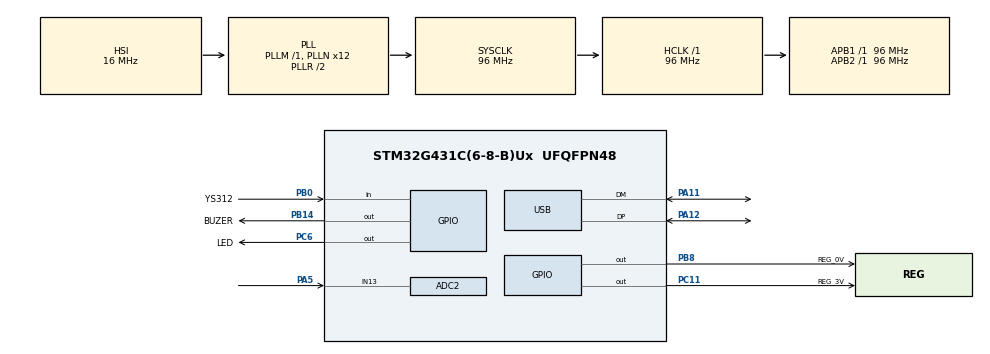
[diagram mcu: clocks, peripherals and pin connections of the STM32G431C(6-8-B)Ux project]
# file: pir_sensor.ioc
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ADC2.Channel-2\#ChannelRegularConversion=ADC_CHANNEL_13
ADC2.NbrOfConversion=1
ADC2.NbrOfConversionFlag=1
ADC2.OffsetNumber-2\#ChannelRegularConversion=ADC_OFFSET_NONE
ADC2.Rank-2\#ChannelRegularConversion=1
ADC2.SamplingTime-2\#ChannelRegularConversion=ADC_SAMPLETIME_47CYCLES_5
Mcu.Family=STM32G4
Mcu.Name=STM32G431C(6-8-B)Ux
Mcu.Package=UFQFPN48
NVIC.PriorityGroup=NVIC_PRIORITYGROUP_4
NVIC.USB_LP_IRQn=true\:0\:0\:false\:false\:true\:false\:true\:true
PA11.Mode=Device
PA11.Signal=USB_DM
PA12.Mode=Device
PA12.Signal=USB_DP
PA13.Mode=Serial_Wire
PA13.Signal=SYS_JTMS-SWDIO
PA14.Mode=Serial_Wire
PA14.Signal=SYS_JTCK-SWCLK
PA5.Mode=IN13-Single-Ended
PA5.Signal=ADC2_IN13
PB0.GPIO_Label=YS312
PB0.Signal=GPIO_Input
PB14.GPIO_Label=BUZER
PB14.GPIO_Speed=GPIO_SPEED_FREQ_HIGH
PB14.Signal=GPIO_Output
PB3.Signal=SYS_JTDO-SWO
PB8-BOOT0.GPIO_Label=REG_0V
PB8-BOOT0.Signal=GPIO_Output
PC11.GPIO_Label=REG_3V
PC11.PinState=GPIO_PIN_SET
PC11.Signal=GPIO_Output
PC6.GPIO_Label=LED
PC6.Signal=GPIO_Output
ProjectManager.HeapSize=0x800
ProjectManager.StackSize=0x400
ProjectManager.TargetToolchain=STM32CubeIDE
RCC.ADC12Freq_Value=96000000
RCC.AHBFreq_Value=96000000
RCC.APB1Freq_Value=96000000
RCC.APB1TimFreq_Value=96000000
RCC.APB2Freq_Value=96000000
RCC.APB2TimFreq_Value=96000000
RCC.CortexFreq_Value=96000000
RCC.EXTERNAL_CLOCK_VALUE=12288000
RCC.HCLKFreq_Value=96000000
RCC.HSE_VALUE=8000000
RCC.HSI48_VALUE=48000000
RCC.HSI_VALUE=16000000
RCC.LSE_VALUE=32768
RCC.PLLN=12
RCC.PLLQ=RCC_PLLQ_DIV4
RCC.SYSCLKFreq_VALUE=96000000
RCC.SYSCLKSource=RCC_SYSCLKSOURCE_PLLCLK
RCC.USBFreq_Value=48000000
RCC.VCOOutputFreq_Value=192000000
USB.battery_charging_enable=DISABLE
USB_DEVICE.CLASS_NAME_FS=CDC
USB_DEVICE.VirtualMode=Cdc
USB_DEVICE.VirtualModeFS=Cdc_FS
VP_RTC_VS_RTC_Activate.Mode=RTC_Enabled
VP_RTC_VS_RTC_Calendar.Mode=RTC_Calendar
VP_SYS_VS_DBSignals.Mode=DisableDeadBatterySignals
VP_USB_DEVICE_VS_USB_DEVICE_CDC_FS.Mode=CDC_FS
board=custom

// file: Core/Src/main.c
/* USER CODE BEGIN Header */
/**
  ******************************************************************************
  * @file           : main.c
  * @brief          : Main program body
  ******************************************************************************
  * @attention
  *
  * Copyright (c) 2026 STMicroelectronics.
  * All rights reserved.
  *
  * This software is licensed under terms that can be found in the LICENSE file
  * in the root directory of this software component.
  * If no LICENSE file comes with this software, it is provided AS-IS.
  *
  ******************************************************************************
  */
/* USER CODE END Header */
#include "main.h"
#include "adc.h"
#include "rtc.h"
#include "usb_device.h"
#include "gpio.h"

/* USER CODE BEGIN Includes */

#include "YS312.h"
#include "debug.h"
#include "dwt_delay.h"
#include "motion.h"
#include "led_beep.h"

/* USER CODE END Includes */

void SystemClock_Config(void);

/* USER CODE BEGIN 0 */
/*-----------------------------------------------------------------------------------*/
/** Get time difference between two events
 *
 * \param tickStart Event start time expressed in ticks
 * \param tickEnd	Event stop time expressed in ticks
 * \return 			Difference in ms between two events
 */
__attribute__((always_inline)) inline
uint32_t GetTickDiff(uint32_t tickStart, uint32_t tickEnd)
{
    return (tickEnd - tickStart);
}

/**
 * @brief  Read a single sample from ADC2 IN13 (PA5).
 * @return 12-bit raw value: 0 = 0V, 4095 = 3.3V
 */
uint16_t ADC2_Read(void)
{
    /* Calibrate ADC for better accuracy (optional, run once at startup) */
    // HAL_ADCEx_Calibration_Start(&hadc2, ADC_SINGLE_ENDED);

    /* Start single conversion */
    HAL_ADC_Start(&hadc2);

    /* Wait for conversion complete (timeout 10 ms) */
    if (HAL_ADC_PollForConversion(&hadc2, 10) != HAL_OK) {
        HAL_ADC_Stop(&hadc2);
        return 0;
    }

    /* Read raw value */
    uint16_t raw = HAL_ADC_GetValue(&hadc2);

    HAL_ADC_Stop(&hadc2);

    return raw;
}

/* USER CODE END 0 */

int main(void)
{

  /* USER CODE BEGIN 1 */

	uint16_t reg = 0;
	YS312_Result pir;
	MotionDetector md;
	bool motion = false;

  /* USER CODE END 1 */

  /* MCU Configuration--------------------------------------------------------*/

  /* Reset of all peripherals, Initializes the Flash interface and the Systick. */
  HAL_Init();

  /* Configure the system clock */
  SystemClock_Config();

  /* Initialize all configured peripherals */
  MX_GPIO_Init();
  MX_RTC_Init();
  MX_USB_Device_Init();
  MX_ADC2_Init();
  /* USER CODE BEGIN 2 */

  // DWT initialization
  DWT_Delay_Init();

  /* ADC calibration */
  HAL_ADCEx_Calibration_Start(&hadc2, ADC_SINGLE_ENDED);

  // Initialize motion detection
  MotionDetector_Init(&md, 500);

  DBG(DBG_DEBUG, "Starting...\n");
  LED_Set();
  Beep(200);
  LED_Clr();

  uint32_t start_time = HAL_GetTick();

  // delay for debug
  //HAL_Delay(5000u);
  /* USER CODE END 2 */

  /* Infinite loop */
  /* USER CODE BEGIN WHILE */

  while (1)
  {
	  /* Poll no faster than tR ≈ 16 ms so the sensor has time to
	       * update its internal data before the next read. */
	      HAL_Delay(200u);

	      // Get regulator value
		  reg = ADC2_Read();
		  MotionDetector_SetThreshold(&md, reg);

		  //DBG(DBG_DEBUG, "Regulator value: %u", reg);

		  pir = YS312_Read();
		  if (!pir.valid) {
			  DBG(DBG_DEBUG, "YS312 read failed\n\r");
			  continue;
		  }

		  motion = MotionDetector_Update(&md, pir.value);
		  if(GetTickDiff(start_time, HAL_GetTick()) > PIR_STARTUP_TIME) {
			  if(motion) {
				  Beep(50);
			  }
		  }

		  DBG(DBG_DEBUG, "PIR : %6d,  base %d: thr: %4d  motion: %s",
				  pir.value, (int16_t)(md.baseline_scaled / 100), md.threshold, motion ? "YES" : "NO");

    /* USER CODE END WHILE */

  }
}

void SystemClock_Config(void)
{
  RCC_OscInitTypeDef RCC_OscInitStruct = {0};
  RCC_ClkInitTypeDef RCC_ClkInitStruct = {0};

  /** Configure the main internal regulator output voltage
  */
  HAL_PWREx_ControlVoltageScaling(PWR_REGULATOR_VOLTAGE_SCALE1);

  /** Initializes the RCC Oscillators according to the specified parameters
  * in the RCC_OscInitTypeDef structure.
  */
  RCC_OscInitStruct.OscillatorType = RCC_OSCILLATORTYPE_HSI|RCC_OSCILLATORTYPE_LSI;
  RCC_OscInitStruct.HSIState = RCC_HSI_ON;
  RCC_OscInitStruct.HSICalibrationValue = RCC_HSICALIBRATION_DEFAULT;
  RCC_OscInitStruct.LSIState = RCC_LSI_ON;
  RCC_OscInitStruct.PLL.PLLState = RCC_PLL_ON;
  RCC_OscInitStruct.PLL.PLLSource = RCC_PLLSOURCE_HSI;
  RCC_OscInitStruct.PLL.PLLM = RCC_PLLM_DIV1;
  RCC_OscInitStruct.PLL.PLLN = 12;
  RCC_OscInitStruct.PLL.PLLP = RCC_PLLP_DIV2;
  RCC_OscInitStruct.PLL.PLLQ = RCC_PLLQ_DIV4;
  RCC_OscInitStruct.PLL.PLLR = RCC_PLLR_DIV2;
  if (HAL_RCC_OscConfig(&RCC_OscInitStruct) != HAL_OK)
  {
    Error_Handler();
  }

  /** Initializes the CPU, AHB and APB buses clocks
  */
  RCC_ClkInitStruct.ClockType = RCC_CLOCKTYPE_HCLK|RCC_CLOCKTYPE_SYSCLK
                              |RCC_CLOCKTYPE_PCLK1|RCC_CLOCKTYPE_PCLK2;
  RCC_ClkInitStruct.SYSCLKSource = RCC_SYSCLKSOURCE_PLLCLK;
  RCC_ClkInitStruct.AHBCLKDivider = RCC_SYSCLK_DIV1;
  RCC_ClkInitStruct.APB1CLKDivider = RCC_HCLK_DIV1;
  RCC_ClkInitStruct.APB2CLKDivider = RCC_HCLK_DIV1;

  if (HAL_RCC_ClockConfig(&RCC_ClkInitStruct, FLASH_LATENCY_3) != HAL_OK)
  {
    Error_Handler();
  }
}

void Error_Handler(void)
{
  __disable_irq();
  while (1)
  {
  }
}
